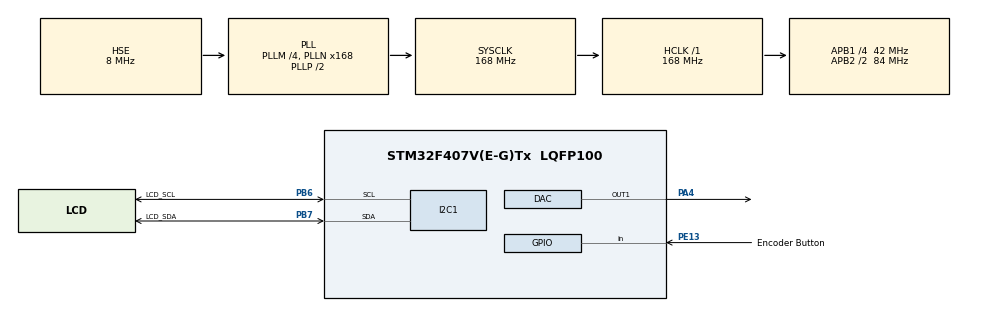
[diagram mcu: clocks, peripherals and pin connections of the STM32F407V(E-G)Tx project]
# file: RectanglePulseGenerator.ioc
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I2C1.I2C_Mode=I2C_Fast
Mcu.Family=STM32F4
Mcu.Name=STM32F407V(E-G)Tx
Mcu.Package=LQFP100
NVIC.PriorityGroup=NVIC_PRIORITYGROUP_4
PA4.Signal=COMP_DAC1_group
PB6.GPIO_Label=LCD_SCL
PB6.Mode=I2C
PB6.Signal=I2C1_SCL
PB7.GPIO_Label=LCD_SDA
PB7.Mode=I2C
PB7.Signal=I2C1_SDA
PE13.GPIO_Label=Encoder Button
PE13.GPIO_PuPd=GPIO_PULLUP
PE13.Signal=GPIO_Input
PH0-OSC_IN.Mode=HSE-External-Oscillator
PH0-OSC_IN.Signal=RCC_OSC_IN
PH1-OSC_OUT.Mode=HSE-External-Oscillator
PH1-OSC_OUT.Signal=RCC_OSC_OUT
ProjectManager.HeapSize=0x200
ProjectManager.StackSize=0x400
ProjectManager.TargetToolchain=STM32CubeIDE
RCC.48MHZClocksFreq_Value=84000000
RCC.AHBFreq_Value=168000000
RCC.APB1CLKDivider=RCC_HCLK_DIV4
RCC.APB1Freq_Value=42000000
RCC.APB1TimFreq_Value=84000000
RCC.APB2CLKDivider=RCC_HCLK_DIV2
RCC.APB2Freq_Value=84000000
RCC.APB2TimFreq_Value=168000000
RCC.CortexFreq_Value=168000000
RCC.HCLKFreq_Value=168000000
RCC.HSE_VALUE=8000000
RCC.HSI_VALUE=16000000
RCC.LSE_VALUE=32768
RCC.PLLM=4
RCC.PLLN=168
RCC.PLLSourceVirtual=RCC_PLLSOURCE_HSE
RCC.SYSCLKFreq_VALUE=168000000
RCC.SYSCLKSource=RCC_SYSCLKSOURCE_PLLCLK
RCC.VCOOutputFreq_Value=336000000
SH.COMP_DAC1_group.0=DAC_OUT1,DAC_OUT1
board=custom

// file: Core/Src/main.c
/* USER CODE BEGIN Header */
/**
  ******************************************************************************
  * @file           : main.c
  * @brief          : Main program body
  ******************************************************************************
  * @attention
  *
  * Copyright (c) 2023 STMicroelectronics.
  * All rights reserved.
  *
  * This software is licensed under terms that can be found in the LICENSE file
  * in the root directory of this software component.
  * If no LICENSE file comes with this software, it is provided AS-IS.
  *
  ******************************************************************************
  */
/* USER CODE END Header */
#include "main.h"

/* USER CODE BEGIN Includes */
#include "LCD_HD44780.h"
#include "IncrementalEncoder.h"
#include "PulseControl.h"
#include "UI.h"

#include <Math.h>
/* USER CODE END Includes */

/* USER CODE BEGIN PTD */
typedef enum
{
	Field,
	Value
} EncoderChangeMode;
/* USER CODE END PTD */

/* USER CODE BEGIN PD */

const double Vref = 2.91;
/* USER CODE END PD */

/* USER CODE BEGIN PM */

EncoderChangeMode CurrentChangeMode;

/* USER CODE END PM */

DAC_HandleTypeDef hdac;

I2C_HandleTypeDef hi2c1;

/* USER CODE BEGIN PV */

extern struct MultiDigitNumber Period;
extern struct MultiDigitNumber DutyCycle;
extern struct MultiDigitNumber Amplitude;

extern struct MultiDigitNumber* SelectedVariable;
extern struct FieldValue* SelectedField;

uint8_t FieldNumber = 1;

uint32_t DAC_Code = 0;

double CachedValue = 0;
double CachedFieldValue = 0;

/* USER CODE END PV */

void SystemClock_Config(void);
static void MX_GPIO_Init(void);
static void MX_I2C1_Init(void);
static void MX_DAC_Init(void);

/* USER CODE BEGIN 0 */

// 4095 - максимальное значение для 12 - разрядного ЦАП
uint32_t DAC_GetCodeFrom_Volt(double Value)
{
	if (Value >= Vref)
	{
		return 4095;
	}

	return Value * 4095 / Vref;
}

void Period_Start_Handler(void)
{
	HAL_DAC_SetValue(
			&hdac,
			DAC_CHANNEL_1,
			DAC_ALIGN_12B_R,
			DAC_Code);
}

void DutyCycle_End_Handler(void)
{
	HAL_DAC_SetValue(
			&hdac,
			DAC_CHANNEL_1,
			DAC_ALIGN_12B_R,
			0);
}

void ChangeField(void)
{
	UI_ChangeField(FieldNumber);

	IncrementalEncoder_SetInitialValue(
			SelectedField->Number.Value / SelectedField->Additive);
}

void DisplayUpdate(uint32_t Value)
{
	if (UI_DisplayUpdate(Value) == ValueOverflow)
	{
		IncrementalEncoder_SetInitialValue(
				SelectedField->Number.Value / SelectedField->Additive);
	}

	if (SelectedVariable == &Period)
	{
		PulseControl_SetPeriod_us((uint32_t)Period.Value);
	}

	else if (SelectedVariable == &DutyCycle)
	{
		PulseControl_SetDutyCycle_us((uint32_t)DutyCycle.Value);
	}

	else if (SelectedVariable == &Amplitude)
	{
		DAC_Code = DAC_GetCodeFrom_Volt(Amplitude.Value / 1000);
	}
}

/* USER CODE END 0 */

int main(void)
{

  /* MCU Configuration--------------------------------------------------------*/

  /* Reset of all peripherals, Initializes the Flash interface and the Systick. */
  HAL_Init();

  /* Configure the system clock */
  SystemClock_Config();

  /* Initialize all configured peripherals */
  MX_GPIO_Init();
  MX_I2C1_Init();
  MX_DAC_Init();
  /* USER CODE BEGIN 2 */

  uint8_t ButtonPressed = 0;
  uint8_t SelectedFieldNumber = FieldNumber;

  /*********************************************/
  //
  //	Инициализация дисплея и UI
  //
  /*********************************************/

  // I2C Address: 0x3F or 0x27
  HD44780_Init_I2C(&hi2c1, 0x3F, TwoLines, Line);

  UI_Init(Vref,
		  HD44780_WriteString,
		  HD44780_WriteNumber,
		  HD44780_SetCursor);

  /*********************************************/
  //
  //	Инициализация энкодера
  //
  /*********************************************/

  CurrentChangeMode = Field;

  IncrementalEncoder_Init();
  IncrementalEncoder_SetInitialValue(FieldNumber / 1);

  /*********************************************/
  //
  //	Инициализация ЦАП
  //
  /*********************************************/

  DAC_Code = DAC_GetCodeFrom_Volt(Amplitude.Value / 1000);
  HAL_DAC_Start(&hdac, DAC_CHANNEL_1);

  /*********************************************/
  //
  //	Инициализация генератора импульсов
  //
  /*********************************************/

  PulseControl_Init(Period_Start_Handler, DutyCycle_End_Handler);

  PulseControl_Generation_Start(
		  (uint32_t)Period.Value,
		  (uint32_t)DutyCycle.Value);

  /* USER CODE END 2 */

  /* Infinite loop */
  while (1)
  {

    /* USER CODE BEGIN 3 */

	  if ((GPIOE->IDR & (1 << 13)) == 0 && ButtonPressed == 0)
	  {
		  ButtonPressed = 1;

		  if (CurrentChangeMode == Field)
		  {
			  CurrentChangeMode = Value;

			  ChangeField();
		  }

		  else
		  {
			  CurrentChangeMode = Field;

			  IncrementalEncoder_SetInitialValue(FieldNumber);
		  }
	  }

	  else if (ButtonPressed != 0)
	  {
		  ButtonPressed = 0;
	  }

	  // Изменение поля

	  if (CurrentChangeMode == Field)
	  {
		  SelectedFieldNumber = IncrementalEncoder_GetValue(
				  UI_NumberOfFields + 1);

		  if (SelectedFieldNumber == 0)
		  {
			  SelectedFieldNumber = 1;
			  IncrementalEncoder_SetInitialValue(SelectedFieldNumber);
		  }

		  if (SelectedFieldNumber != FieldNumber)
		  {
			  if (SelectedFieldNumber > UI_NumberOfFields)
			  {
				  SelectedFieldNumber = 1;
			  }

			  FieldNumber = SelectedFieldNumber;

			  HD44780_SetCursor(
					  UI_GetField(FieldNumber)->X,
					  UI_GetField(FieldNumber)->Y);
		  }
	  }

	  // Изменение значения выбранного поля

	  else
	  {
		  CachedValue = SelectedVariable->Value;
		  CachedFieldValue = SelectedField->Number.Value;

		  IncrementalEncoder_GetValue_FromCallback(DisplayUpdate,
				  ((SelectedField->MaxValue + SelectedField->Additive) /
				  SelectedField->Additive));

		  if (SelectedVariable == &Period ||
			  SelectedVariable == &DutyCycle)
		  {
			  if (Period.Value < DutyCycle.Value)
			  {
				  SelectedVariable->Value = CachedValue;
				  SelectedField->Number.Value = CachedFieldValue;

				  DisplayUpdate((uint32_t)SelectedField->Number.Value);

				  IncrementalEncoder_SetInitialValue(
						  SelectedField->Number.Value / SelectedField->Additive);
			  }
		  }
	  }

	  HAL_Delay(100);
  }
  /* USER CODE END 3 */
}

void SystemClock_Config(void)
{
  RCC_OscInitTypeDef RCC_OscInitStruct = {0};
  RCC_ClkInitTypeDef RCC_ClkInitStruct = {0};

  /** Configure the main internal regulator output voltage
  */
  __HAL_RCC_PWR_CLK_ENABLE();
  __HAL_PWR_VOLTAGESCALING_CONFIG(PWR_REGULATOR_VOLTAGE_SCALE1);

  /** Initializes the RCC Oscillators according to the specified parameters
  * in the RCC_OscInitTypeDef structure.
  */
  RCC_OscInitStruct.OscillatorType = RCC_OSCILLATORTYPE_HSE;
  RCC_OscInitStruct.HSEState = RCC_HSE_ON;
  RCC_OscInitStruct.PLL.PLLState = RCC_PLL_ON;
  RCC_OscInitStruct.PLL.PLLSource = RCC_PLLSOURCE_HSE;
  RCC_OscInitStruct.PLL.PLLM = 4;
  RCC_OscInitStruct.PLL.PLLN = 168;
  RCC_OscInitStruct.PLL.PLLP = RCC_PLLP_DIV2;
  RCC_OscInitStruct.PLL.PLLQ = 4;
  if (HAL_RCC_OscConfig(&RCC_OscInitStruct) != HAL_OK)
  {
    Error_Handler();
  }

  /** Initializes the CPU, AHB and APB buses clocks
  */
  RCC_ClkInitStruct.ClockType = RCC_CLOCKTYPE_HCLK|RCC_CLOCKTYPE_SYSCLK
                              |RCC_CLOCKTYPE_PCLK1|RCC_CLOCKTYPE_PCLK2;
  RCC_ClkInitStruct.SYSCLKSource = RCC_SYSCLKSOURCE_PLLCLK;
  RCC_ClkInitStruct.AHBCLKDivider = RCC_SYSCLK_DIV1;
  RCC_ClkInitStruct.APB1CLKDivider = RCC_HCLK_DIV4;
  RCC_ClkInitStruct.APB2CLKDivider = RCC_HCLK_DIV2;

  if (HAL_RCC_ClockConfig(&RCC_ClkInitStruct, FLASH_LATENCY_5) != HAL_OK)
  {
    Error_Handler();
  }
}

static void MX_DAC_Init(void)
{

  DAC_ChannelConfTypeDef sConfig = {0};

  /** DAC Initialization
  */
  hdac.Instance = DAC;
  if (HAL_DAC_Init(&hdac) != HAL_OK)
  {
    Error_Handler();
  }

  /** DAC channel OUT1 config
  */
  sConfig.DAC_Trigger = DAC_TRIGGER_NONE;
  sConfig.DAC_OutputBuffer = DAC_OUTPUTBUFFER_ENABLE;
  if (HAL_DAC_ConfigChannel(&hdac, &sConfig, DAC_CHANNEL_1) != HAL_OK)
  {
    Error_Handler();
  }

}

static void MX_I2C1_Init(void)
{

  hi2c1.Instance = I2C1;
  hi2c1.Init.ClockSpeed = 400000;
  hi2c1.Init.DutyCycle = I2C_DUTYCYCLE_2;
  hi2c1.Init.OwnAddress1 = 0;
  hi2c1.Init.AddressingMode = I2C_ADDRESSINGMODE_7BIT;
  hi2c1.Init.DualAddressMode = I2C_DUALADDRESS_DISABLE;
  hi2c1.Init.OwnAddress2 = 0;
  hi2c1.Init.GeneralCallMode = I2C_GENERALCALL_DISABLE;
  hi2c1.Init.NoStretchMode = I2C_NOSTRETCH_DISABLE;
  if (HAL_I2C_Init(&hi2c1) != HAL_OK)
  {
    Error_Handler();
  }

}

static void MX_GPIO_Init(void)
{
  GPIO_InitTypeDef GPIO_InitStruct = {0};

  /* GPIO Ports Clock Enable */
  __HAL_RCC_GPIOH_CLK_ENABLE();
  __HAL_RCC_GPIOA_CLK_ENABLE();
  __HAL_RCC_GPIOE_CLK_ENABLE();
  __HAL_RCC_GPIOB_CLK_ENABLE();

  /*Configure GPIO pin : Encoder_Button_Pin */
  GPIO_InitStruct.Pin = Encoder_Button_Pin;
  GPIO_InitStruct.Mode = GPIO_MODE_INPUT;
  GPIO_InitStruct.Pull = GPIO_PULLUP;
  HAL_GPIO_Init(Encoder_Button_GPIO_Port, &GPIO_InitStruct);

}

void Error_Handler(void)
{
  __disable_irq();
  while (1)
  {
  }
}
